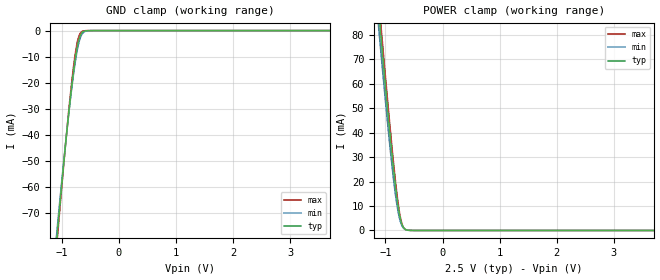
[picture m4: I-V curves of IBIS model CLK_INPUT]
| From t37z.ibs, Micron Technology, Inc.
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|   MODEL CLK_INPUT
[Model]   CLK_INPUT
Model_type   Input
Vinl = 0.940V
Vinh = 1.560V
|   typ   min   max
C_comp   1.16pF   0.93pF   1.39pF
[Model Spec]
| Input threshold voltage corners
Vinh   1.560V   1.460V   1.660V
Vinl   0.940V   0.840V   1.040V
| Overshoot/Undershoot
S_overshoot_high   2.800V   2.600V   3.000V
S_overshoot_low   -0.300V   NA   NA
[Receiver Thresholds]
Vcross_low   = 1.050V
Vcross_high  = 1.450V
Vdiff_ac   = 700mV
Vdiff_dc   = 360mV
Tdiffslew_ac = 10.000ns |Not specified, so set to high value
[Voltage Range]   2.500V   2.300V   2.700V
| Junction Temperature (Ambient temp is 25C typ, 70C min, 0C max)
[Temperature Range]   40.0   85.0   0.0
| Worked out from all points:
|   GND clamp passes 1 mA (typ) near -0.65 V on its own axis
|   POWER clamp passes 1 mA (typ) near -0.68 V on its own axis
[GND Clamp]
|   Voltage   I(typ)   I(min)   I(max)
-2.5V     -461.8mA   -444.6mA   -479.3mA
-1.085V   -79.81mA   -77.37mA   -82.04mA
-1.07V    -76.11mA   -73.87mA   -78.13mA
-1.055V   -72.44mA   -70.4mA    -74.23mA
-910mV    -38.78mA   -38.67mA   -38.34mA
-845mV    -25.31mA   -25.92mA   -23.98mA
-790mV    -15.22mA   -16.31mA   -13.4mA
-750mV    -9.068mA   -10.35mA   -7.193mA
-715mV    -4.919mA   -6.15mA    -3.354mA
-635mV    -618.7uA   -1.099mA   -264.9uA
-446mV    0A         NA         NA
5V        0A         0A         0A
[POWER Clamp]
|   Voltage   I(typ)   I(min)   I(max)
-2.5V     479.2mA    468.5mA    486.6mA
-1.12V    90.49mA    83.34mA    94.85mA
-1.085V   81.21mA    74.29mA    85.41mA
-1.065V   75.95mA    69.17mA    80.05mA
-925mV    40.55mA    35.14mA    43.7mA
-865mV    26.7mA     22.23mA    29.24mA
-820mV    17.35mA    13.87mA    19.29mA
-770mV    8.776mA    6.677mA    9.878mA
-730mV    4.025mA    3.028mA    4.455mA
-690mV    1.452mA    1.155mA    1.492mA
-645mV    379.8uA    342.7uA    339uA
5V        0A         0A         0A
